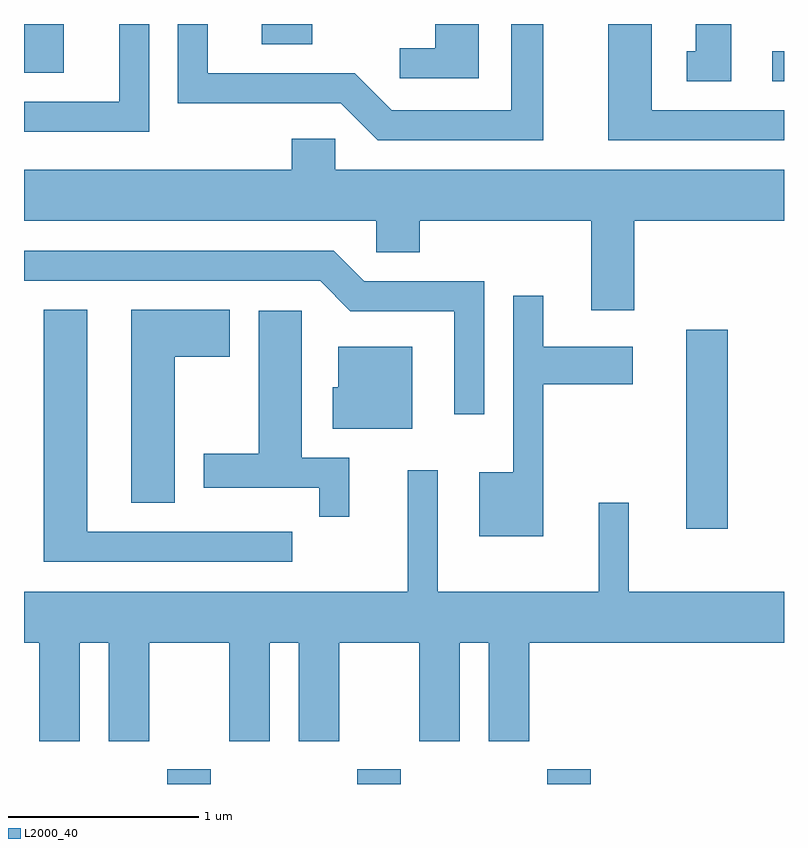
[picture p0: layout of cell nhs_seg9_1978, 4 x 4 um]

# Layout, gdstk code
import gdstk
lib = gdstk.Library(unit=1e-6, precision=1e-09)
def R(c, l, rs):  # rectangles x0, y0, x1, y1
    for r in rs: c.add(gdstk.rectangle(r[:2], r[2:], *l))
def A(c, l, x, y, w, h, nx, ny, dx, dy):  # array of equal rectangles
    R(c, l, [(x+i*dx, y+j*dy, x+i*dx+w, y+j*dy+h) for i in range(nx) for j in range(ny)])
def P(c, l, *ps):  # polygons
    for p in ps: c.add(gdstk.Polygon(p, *l))
L2000_40 = (2000, 40)

nhs_seg9_1978 = lib.new_cell('nhs_seg9_1978')
A(nhs_seg9_1978, L2000_40, 244.366, 1964.432, 0.228, 0.077, 3, 1, 1, 0)
R(nhs_seg9_1978, L2000_40, [(247.096,1965.776,247.314,1966.824), (247.548,1968.131,247.611,1968.289), (243.611,1968.176,243.819,1968.432), (244.861,1968.326,245.129,1968.432)])
P(nhs_seg9_1978, L2000_40, [(247.334,1968.432),(247.146,1968.432),(247.146,1968.289),(247.098,1968.289),(247.098,1968.131),(247.334,1968.131)],
  [(246.004,1968.432),(245.776,1968.432),(245.776,1968.304),(245.588,1968.304),(245.588,1968.146),(246.004,1968.146)],
  [(247.611,1967.979),(246.914,1967.979),(246.914,1968.432),(246.686,1968.432),(246.686,1967.821),(247.611,1967.821)],
  [(246.344,1968.432),(246.176,1968.432),(246.176,1967.979),(245.547,1967.979),(245.352,1968.174),(244.579,1968.174),(244.579,1968.432),(244.421,1968.432),(244.421,1968.016),(245.279,1968.016),(245.474,1967.821),(246.344,1967.821)],
  [(244.269,1968.432),(244.111,1968.432),(244.111,1968.024),(243.611,1968.024),(243.611,1967.866),(244.269,1967.866)],
  [(246.824,1967.396),(247.611,1967.396),(247.611,1967.664),(245.249,1967.664),(245.249,1967.829),(245.021,1967.829),(245.021,1967.664),(243.611,1967.664),(243.611,1967.396),(245.466,1967.396),(245.466,1967.231),(245.694,1967.231),(245.694,1967.396),(246.596,1967.396),(246.596,1966.926),(246.824,1966.926)],
  [(246.034,1967.079),(245.402,1967.079),(245.242,1967.239),(243.611,1967.239),(243.611,1967.081),(245.169,1967.081),(245.329,1966.921),(245.876,1966.921),(245.876,1966.378),(246.034,1966.378)],
  [(246.344,1966.536),(246.814,1966.536),(246.814,1966.734),(246.344,1966.734),(246.344,1967.003),(246.186,1967.003),(246.186,1966.074),(246.006,1966.074),(246.006,1965.736),(246.344,1965.736)],
  [(245.023,1965.759),(243.944,1965.759),(243.944,1966.929),(243.716,1966.929),(243.716,1965.601),(245.023,1965.601)],
  [(244.404,1966.681),(244.694,1966.681),(244.694,1966.929),(244.176,1966.929),(244.176,1965.911),(244.404,1965.911)],
  [(245.324,1966.149),(245.074,1966.149),(245.074,1966.924),(244.846,1966.924),(244.846,1966.169),(244.556,1966.169),(244.556,1965.991),(245.166,1965.991),(245.166,1965.838),(245.324,1965.838)],
  [(245.654,1966.734),(245.266,1966.734),(245.266,1966.519),(245.236,1966.519),(245.236,1966.301),(245.654,1966.301)],
  [(243.904,1965.176),(244.056,1965.176),(244.056,1964.656),(244.269,1964.656),(244.269,1965.176),(244.691,1965.176),(244.691,1964.656),(244.904,1964.656),(244.904,1965.176),(245.056,1965.176),(245.056,1964.656),(245.269,1964.656),(245.269,1965.176),(245.691,1965.176),(245.691,1964.656),(245.904,1964.656),(245.904,1965.176),(246.056,1965.176),(246.056,1964.656),(246.269,1964.656),(246.269,1965.176),(247.611,1965.176),(247.611,1965.444),(246.794,1965.444),(246.794,1965.913),(246.636,1965.913),(246.636,1965.444),(245.789,1965.444),(245.789,1966.083),(245.631,1966.083),(245.631,1965.444),(243.611,1965.444),(243.611,1965.176),(243.691,1965.176),(243.691,1964.656),(243.904,1964.656)])

lib.write_gds('nhs_seg9_1978.gds')
